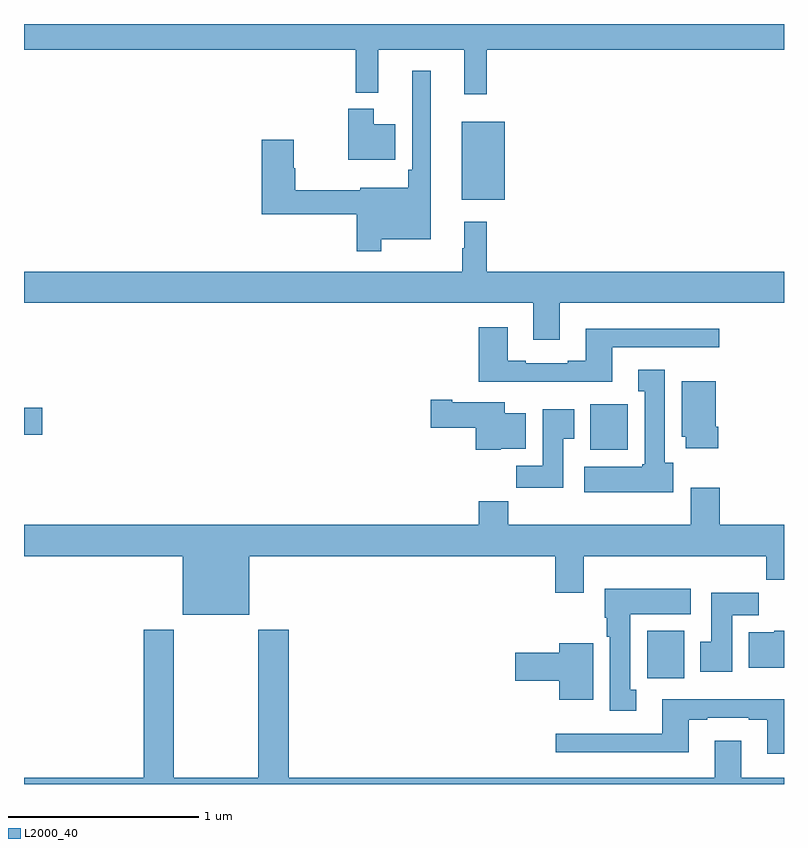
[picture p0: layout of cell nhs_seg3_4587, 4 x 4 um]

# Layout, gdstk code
import gdstk
lib = gdstk.Library(unit=1e-6, precision=1e-09)
def R(c, l, rs):  # rectangles x0, y0, x1, y1
    for r in rs: c.add(gdstk.rectangle(r[:2], r[2:], *l))
def P(c, l, *ps):  # polygons
    for p in ps: c.add(gdstk.Polygon(p, *l))
L2000_40 = (2000, 40)

nhs_seg3_4587 = lib.new_cell('nhs_seg3_4587')
R(nhs_seg3_4587, L2000_40, [(360.279,682.956,360.475,683.206), (359.981,684.158,360.178,684.4), (357,684.238,357.097,684.38), (359.303,685.475,359.53,685.885)])
P(nhs_seg3_4587, L2000_40, [(359.435,686.264),(361,686.264),(361,686.4),(357,686.4),(357,686.264),(358.747,686.264),(358.747,686.039),(358.865,686.039),(358.865,686.264),(359.318,686.264),(359.318,686.031),(359.435,686.031)],
  [(358.879,685.268),(359.14,685.268),(359.14,686.155),(359.043,686.155),(359.043,685.633),(359.023,685.633),(359.023,685.537),(358.769,685.537),(358.769,685.526),(358.428,685.526),(358.428,685.641),(358.42,685.641),(358.42,685.792),(358.25,685.792),(358.25,685.398),(358.75,685.398),(358.75,685.203),(358.879,685.203)],
  [(358.954,685.873),(358.84,685.873),(358.84,685.954),(358.706,685.954),(358.706,685.685),(358.954,685.685)],
  [(359.821,684.932),(361,684.932),(361,685.096),(359.435,685.096),(359.435,685.36),(359.318,685.36),(359.318,685.22),(359.307,685.22),(359.307,685.096),(357,685.096),(357,684.932),(359.681,684.932),(359.681,684.738),(359.821,684.738)],
  [(360.097,684.699),(360.658,684.699),(360.658,684.796),(359.957,684.796),(359.957,684.628),(359.861,684.628),(359.861,684.615),(359.641,684.615),(359.641,684.628),(359.545,684.628),(359.545,684.805),(359.393,684.805),(359.393,684.518),(360.097,684.518)],
  [(360.418,684.09),(360.373,684.09),(360.373,684.58),(360.233,684.58),(360.233,684.467),(360.266,684.467),(360.266,684.084),(360.253,684.084),(360.253,684.07),(359.949,684.07),(359.949,683.936),(360.418,683.936)],
  [(360.653,684.28),(360.64,684.28),(360.64,684.52),(360.461,684.52),(360.461,684.228),(360.482,684.228),(360.482,684.168),(360.653,684.168)],
  [(359.508,684.164),(359.641,684.164),(359.641,684.352),(359.53,684.352),(359.53,684.409),(359.254,684.409),(359.254,684.422),(359.142,684.422),(359.142,684.275),(359.378,684.275),(359.378,684.158),(359.508,684.158)],
  [(359.839,684.217),(359.896,684.217),(359.896,684.373),(359.729,684.373),(359.729,684.076),(359.59,684.076),(359.59,683.958),(359.839,683.958)],
  [(358.186,683.6),(359.795,683.6),(359.795,683.406),(359.947,683.406),(359.947,683.6),(360.907,683.6),(360.907,683.476),(361,683.476),(361,683.764),(360.662,683.764),(360.662,683.959),(360.509,683.959),(360.509,683.764),(359.549,683.764),(359.549,683.888),(359.393,683.888),(359.393,683.764),(357,683.764),(357,683.6),(357.836,683.6),(357.836,683.291),(358.186,683.291)],
  [(360.223,682.897),(360.19,682.897),(360.19,683.294),(360.508,683.294),(360.508,683.428),(360.056,683.428),(360.056,683.274),(360.068,683.274),(360.068,683.174),(360.083,683.174),(360.083,682.785),(360.223,682.785)],
  [(360.727,683.288),(360.866,683.288),(360.866,683.407),(360.617,683.407),(360.617,683.148),(360.56,683.148),(360.56,682.992),(360.727,682.992)],
  [(361,682.432),(360.775,682.432),(360.775,682.627),(360.635,682.627),(360.635,682.432),(358.394,682.432),(358.394,683.212),(358.234,683.212),(358.234,682.432),(357.789,682.432),(357.789,683.212),(357.629,683.212),(357.629,682.432),(357,682.432),(357,682.4),(361,682.4)],
  [(361,683.206),(360.948,683.206),(360.948,683.2),(360.815,683.2),(360.815,683.012),(361,683.012)],
  [(359.995,683.14),(359.816,683.14),(359.816,683.09),(359.586,683.09),(359.586,682.943),(359.816,682.943),(359.816,682.844),(359.995,682.844)],
  [(361,682.846),(360.359,682.846),(360.359,682.665),(359.799,682.665),(359.799,682.568),(360.499,682.568),(360.499,682.737),(360.595,682.737),(360.595,682.749),(360.815,682.749),(360.815,682.737),(360.911,682.737),(360.911,682.56),(361,682.56)])

lib.write_gds('nhs_seg3_4587.gds')
